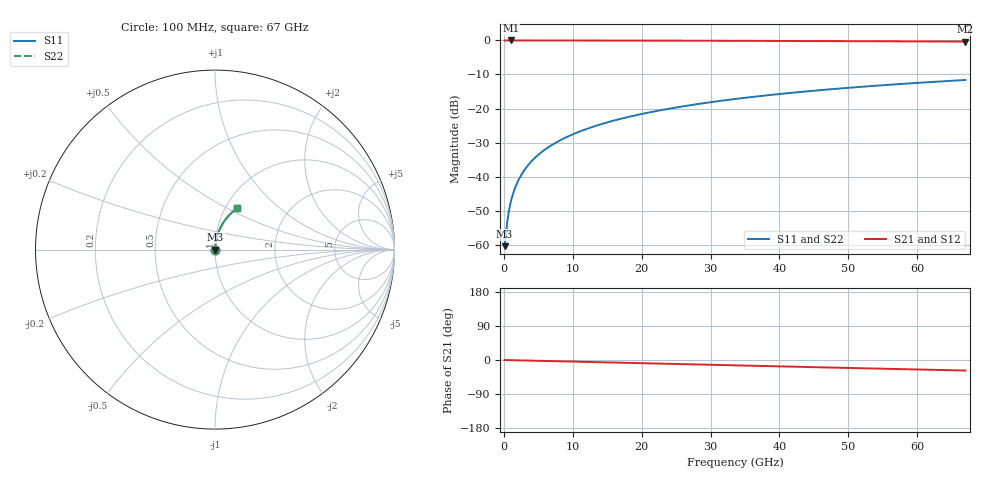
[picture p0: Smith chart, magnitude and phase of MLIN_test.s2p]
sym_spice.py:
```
import subprocess
import os
from Code.config import FILES_DIR, FREQUENCY_RANGE
from Code.input.input import SimulationConfigBuilder

def generate_scs_content(simulation_type: str, structure_name: str, current_run: str, num_ports: int,
                         input_file: str = None) -> str:
    """
    Генерирует содержимое .scs файла на основе типа симуляции, имени структуры, текущего запуска и числа портов.

    Args:
        simulation_type (str): Тип симуляции ('SymSnpTest', 'SymSubTest', 'CustomCir').
        structure_name (str): Название структуры (например, 'MLIN', 'MTAPER').
        current_run (str): Имя текущего запуска (например, 'test').
        num_ports (int): Количество портов структуры.
        input_file (str, optional): Путь к входному .cir файлу для CustomCir симуляции.

    Returns:
        str: Содержимое .scs файла.
    """
    # Общие начальные строки
    scs_content = [
        "simulator lang=local",
        "global 0",
        ""
    ]

    # Частотный диапазон из config.py
    freq_start = FREQUENCY_RANGE[0] / 1e9  # в ГГц
    freq_stop = FREQUENCY_RANGE[-1] / 1e9  # в ГГц
    freq_step = (FREQUENCY_RANGE[1] - FREQUENCY_RANGE[0]) / 1e9  # в ГГц
    output_path = os.path.join(FILES_DIR, "sym", f"{structure_name}_{current_run}.s{num_ports}p")

    if simulation_type == "SymSnpTest":
        # Путь к входному .snp файлу
        snp_path = os.path.join(FILES_DIR, "snp", f"{structure_name}_{current_run}.s{num_ports}p")
        # Добавление NPORT
        nport_nodes = " ".join(f"{i + 1} 0" for i in range(num_ports))
        scs_content.append(f"NPORT0 {nport_nodes} nport file=\"{snp_path}\"")
        scs_content.append("")

        # Добавление портов
        for i in range(num_ports):
            scs_content.append(
                f"PORT{i} {i + 1} 0 port r=50 num={i + 1} type=sine rptstart=1 rpttimes=0"
            )
        scs_content.append("")

        # SPSweep для SymSnpTest
        scs_content.append(
            f"SPSweep sp start={freq_start}G stop={freq_stop}G step={freq_step}G file=\"{output_path}\""
        )

    elif simulation_type == "SymSubTest":
        # Путь к входному .cir файлу
        cir_path = os.path.join(FILES_DIR, "cir", f"{structure_name}_{current_run}.cir")
        scs_content.append(f"include \"{cir_path}\"")
        scs_content.append("")

        # Добавление элемента U1
        nodes = " ".join(f"p{i + 1}" for i in range(num_ports))
        scs_content.append(f"U1 {nodes} s_equivalent")
        scs_content.append("")

        # Добавление портов
        for i in range(num_ports):
            scs_content.append(
                f"PORT{i + 1} p{i + 1} 0 port r=50 num={i + 1} type=sine fundname=aaa ampl=0.0001 "
                f"freq=5000000000 data=0 rptstart=1 rpttimes=0 mag=1e-006"
            )
        scs_content.append("")

        # sp для SymSubTest
        scs_content.append(
            f"sp sp start={freq_start}G stop={freq_stop}G dec=401 file=\"{output_path}\""
        )

    elif simulation_type == "CustomCir":
        if not input_file:
            raise ValueError("Для CustomCir требуется указать путь к .cir файлу")
        # Проверка существования входного файла
        if not os.path.exists(input_file):
            raise FileNotFoundError(f"Входной файл {input_file} не найден")

        scs_content.append(f"include \"{input_file}\"")
        scs_content.append("")

        # Загрузка параметров структуры
        config_builder = SimulationConfigBuilder(os.path.join(FILES_DIR, "json", "simulation_config.json"))
        structure_params = config_builder.get_structure(structure_name)

        nodes = " ".join(f"p{i + 1}" for i in range(num_ports))
        if structure_name == "TFR":
            rs = structure_params.get("RS", 16)
            w = structure_params.get("W", 50e-6)
            l = structure_params.get("L", 50e-6)
            scs_content.append(f"X1 {nodes} sch RS={rs} W={w:.6e} L={l:.6e}")
        elif structure_name == "MOPEN":
            w = structure_params.get("W", 50e-6)
            msub_params = config_builder.get_structure("MSUB")
            h = msub_params.get("H", 100e-6)
            er = msub_params.get("ER1", 12.9)
            scs_content.append(f"X1 p1 0 sch W={w:.6e} H={h:.6e} ER={er:.2f}")
        elif structure_name == "MSTEP":
            w1 = structure_params.get("W1", 50e-6)
            w2 = structure_params.get("W2", 50e-6)
            msub_params = config_builder.get_structure("MSUB")
            h = msub_params.get("H", 100e-6)
            er = msub_params.get("ER1", 12.9)
            scs_content.append(f"X1 {nodes} sch W1={w1:.6e} W2={w2:.6e} H={h:.6e} ER={er:.2f}")
        else:
            msub_params = config_builder.get_structure("MSUB")
            par1 = msub_params.get("ER1", 5)
            par2 = msub_params.get("T", 1e-6)
            scs_content.append(f"X1 {nodes} sch2 par1={par1:.2f} par2={par2:.6e}")
        scs_content.append("")

        # Добавление портов
        for i in range(num_ports):
            scs_content.append(
                f"PORT{i + 1} p{i + 1} 0 port r=50 num={i + 1} type=sine fundname=aaa ampl=0.0001 "
                f"freq=5000000000 data=0 rptstart=0 mag=1e-006"
            )
        scs_content.append("")

        # sp для CustomCir
        scs_content.append(
            f"sp sp start={freq_start}G stop={freq_stop}G dec=401 file=\"{output_path}\""
        )

    else:
        raise ValueError(f"Неподдерживаемый тип симуляции: {simulation_type}")

    # Добавление DEFAULT_OPTIONS
    if simulation_type == "SymSnpTest":
        scs_content.append("DEFAULT_OPTIONS options tnom=27 temp=27 reltol=1.000000e-03")
    else:
        scs_content.append(
            "DEFAULT_OPTIONS options tnom=27 temp=27 acout=0 fast_spice=0 reltol=1.000000e-003 rawfmt=nutascii"
        )

    return "\n".join(scs_content)

def run_symspice(scs_file: str, obj_file: str, structure_name: str, num_ports: int):
    """
    Запускает Symica сгенерировав .scs файл и выполняет симуляцию.

    Args:
        scs_file (str): Тип симуляции ('SymSnpTest', 'SymSubTest', 'CustomCir').
        obj_file (str): Путь к входному файлу (.cir для CustomCir, имя для других).
        structure_name (str): Название структуры.
        num_ports (int): Количество портов структуры.
    """
    base_dir = os.path.dirname(__file__)
    cir_dir = os.path.join(base_dir, "..", "Files", "sch")
    cir_path = os.path.abspath(os.path.join(cir_dir, f"{scs_file}.scs"))
    output_dir = os.path.join(base_dir, "..", "Files", "sym")
    os.makedirs(cir_dir, exist_ok=True)
    os.makedirs(output_dir, exist_ok=True)

    # Извлекаем current_run из obj_file
    current_run = "test" if scs_file == "CustomCir" else obj_file.replace(f"{structure_name}_", "").split('.')[0]

    # Генерация содержимого .scs файла
    scs_content = generate_scs_content(
        simulation_type=scs_file,
        structure_name=structure_name,
        current_run=current_run,
        num_ports=num_ports,
        input_file=obj_file if scs_file == "CustomCir" else None
    )

    # Запись .scs файла
    try:
        with open(cir_path, 'w', encoding='utf-8') as file:
            file.write(scs_content)
        print(f"Файл {cir_path} успешно создан")
    except Exception as e:
        print(f"Ошибка при создании файла {cir_path}: {e}")
        return

    # Запуск Symica
    command = [os.path.abspath(r"C:\Program Files\Symica\bin\symspice.exe"), os.path.basename(cir_path)]
    try:
        result = subprocess.run(command, cwd=cir_dir, capture_output=True, text=True, check=True)
        print("======= STDOUT =======")
        print(result.stdout)
        print("\n======= STDERR =======")
        print(result.stderr)
        expected_output = os.path.join(output_dir, f"{structure_name}_{current_run}.s{num_ports}p")
        if os.path.exists(expected_output):
            print(f"\n✅ Результат симуляции сохранен в: {expected_output}")
        else:
            print(f"\n⚠️ Выходной файл {expected_output} не найден")
        print(f"\n✅ Симуляция {scs_file} завершена успешно")
    except subprocess.CalledProcessError as e:
        print(f"\n❌ Ошибка при выполнении симуляции {scs_file}. Код ошибки: {e.returncode}")
        print("======= STDERR =======")
        print(e.stderr)
    except FileNotFoundError:
        print("\n❌ Ошибка: symspice не найден. Убедитесь, что он установлен и добавлен в PATH")

# Пример использования:
if __name__ == "__main__":
    run_symspice("SymSnpTest", "MLIN_test.s2p", "MLIN", 2)
```
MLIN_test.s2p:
! Touchstone Ver. 1.0
! Number of ports is 2
# Hz  S RI  R  50
! SCATTERING PARAMETERS  :
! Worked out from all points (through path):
!   670 points, 100 MHz to 67 GHz, reference 50 ohm
!   highest |S21| = -0.01 dB at 1 GHz (marker M1); lowest = -0.3 dB at 67 GHz (marker M2)
!   group delay of S21, straight-line fit = 1.16 ps
!   lowest |S11| = -60.4 dB at 100 MHz (marker M3), VSWR 1.00, Z = 50.1 + j0.0419 ohm
!   |S11| at or under -10 dB: start of sweep to end of sweep
!   |S22| runs from -60.4 to -11.6 dB; largest |S21 - S12| = 0
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1e8  0.000856 0.000418  0.9991 -0.000743  0.9991 -0.000743  0.000856 0.000418
7e8  0.000725 0.00293  0.9993 -0.0052  0.9993 -0.0052  0.000725 0.00293
1e9  0.00071 0.00419  0.9993 -0.00743  0.9993 -0.00743  0.00071 0.00419
1.5e9  0.00078 0.00628  0.9992 -0.0111  0.9992 -0.0111  0.00078 0.00628
2.1e9  0.000885 0.00879  0.9991 -0.0156  0.9991 -0.0156  0.000885 0.00879
3.7e9  0.00127 0.0155  0.9986 -0.0275  0.9986 -0.0275  0.00127 0.0155
6.1e9  0.00217 0.0255  0.9976 -0.0453  0.9976 -0.0453  0.00217 0.0255
9.3e9  0.00393 0.0387  0.9955 -0.0689  0.9955 -0.0689  0.00393 0.0387
1.89e10  0.0127 0.0777  0.9852 -0.139  0.9852 -0.139  0.0127 0.0777
3.36e10  0.0361 0.1334  0.9576 -0.2425  0.9576 -0.2425  0.0361 0.1334
6.7e10  0.1252 0.2308  0.8501 -0.4486  0.8501 -0.4486  0.1252 0.2308
